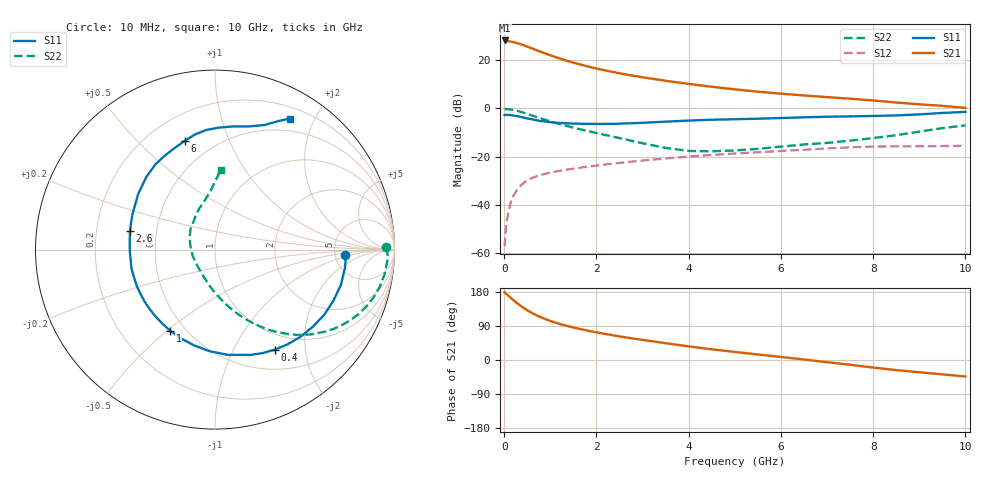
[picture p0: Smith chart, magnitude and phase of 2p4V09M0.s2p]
! (c) 2009  Infineon Technologies AG, Munich
! Infineon Technologies  Discrete & RF Semiconductors
! BFP420
! VCE =  4.0 V,  IC =  9.0 mA
! Common Emitter S-Parameters:  Nov 2009
# GHz  S  MA  R  50
!  f  S11  S21  S12  S22
! GHz  MAG  ANG  MAG  ANG  MAG  ANG  MAG  ANG
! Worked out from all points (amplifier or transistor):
!   46 points, 10 MHz to 10 GHz, reference 50 ohm
!   highest |S21| = 28.1 dB at 10 MHz (marker M1)
!   |S21| within 3 dB of that: start of sweep to 564.2 MHz
!   unconditionally stable (mu >= 1): start of sweep to 14.21 MHz; 2.469 GHz to end of sweep
!   at 300 MHz: K = 0.22, MSG = 30.1 dB, |S12| = -33.3 dB
!   at 1.7 GHz: K = 0.78, MSG = 21.2 dB, |S12| = -24.5 dB
!   at 10 GHz: K = 1.10, MAG = 6.0 dB, |S12| = -15.5 dB
!   S11 on the Smith chart (normalised r, x): 10 MHz: 6.11, -0.71; 400 MHz: 0.77, -1.48; 1 GHz: 0.42, -0.51; 2.6 GHz: 0.35, +0.09; 6 GHz: 0.35, +0.70; 10 GHz: 0.33, +1.68
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0.01  0.7221 -2.2  25.34 178.9  0.0014 33.4  0.9551 0.8
0.02  0.7301 -3.0  24.63 177.4  0.002 49.6  0.9616 -1.5
0.1  0.7284 -15.7  24.34 168.6  0.0078 73.5  0.9544 -8.5
0.2  0.7085 -31.0  23.38 158.1  0.0152 71.4  0.9231 -16.7
0.3  0.6802 -45.6  22.05 148.1  0.0217 66.5  0.8768 -24.2
0.4  0.6498 -59.0  20.52 139.3  0.0273 61.8  0.8224 -30.8
0.5  0.6188 -71.5  18.93 131.4  0.032 57.8  0.7662 -36.6
0.6  0.5911 -82.9  17.41 124.2  0.0359 54.3  0.712 -41.6
0.7  0.5668 -93.2  15.99 118.1  0.0391 51.5  0.6611 -46.0
0.8  0.546 -102.4  14.68 112.5  0.0419 49.3  0.6153 -49.7
1  0.5163 -118.9  12.5 103.1  0.0467 45.9  0.5364 -56.3
1.3  0.4915 -138.7  10.03 92.0  0.0526 42.9  0.4455 -64.1
1.7  0.4778 -159.2  7.828 80.3  0.0599 40.5  0.3581 -72.9
2.2  0.4748 -179.0  6.055 68.6  0.0688 38.0  0.2798 -82.9
2.6  0.4851 167.7  5.093 60.3  0.0758 36.0  0.2297 -92.2
3.5  0.5287 144.0  3.71 44.3  0.0914 30.8  0.1514 -119.9
4.5  0.5796 125.0  2.789 28.2  0.1082 24.0  0.1288 -162.9
5.5  0.6086 111.8  2.209 14.6  0.1231 17.1  0.1449 164.1
6  0.6291 105.6  2.008 8.1  0.1306 13.7  0.1609 150.8
7  0.6681 94.3  1.704 -5.7  0.1473 5.7  0.1922 129.7
8.5  0.7121 74.5  1.317 -26.6  0.1626 -9.7  0.2774 102.3
10  0.8417 60.2  1.019 -43.5  0.1676 -20.0  0.4429 86.0
